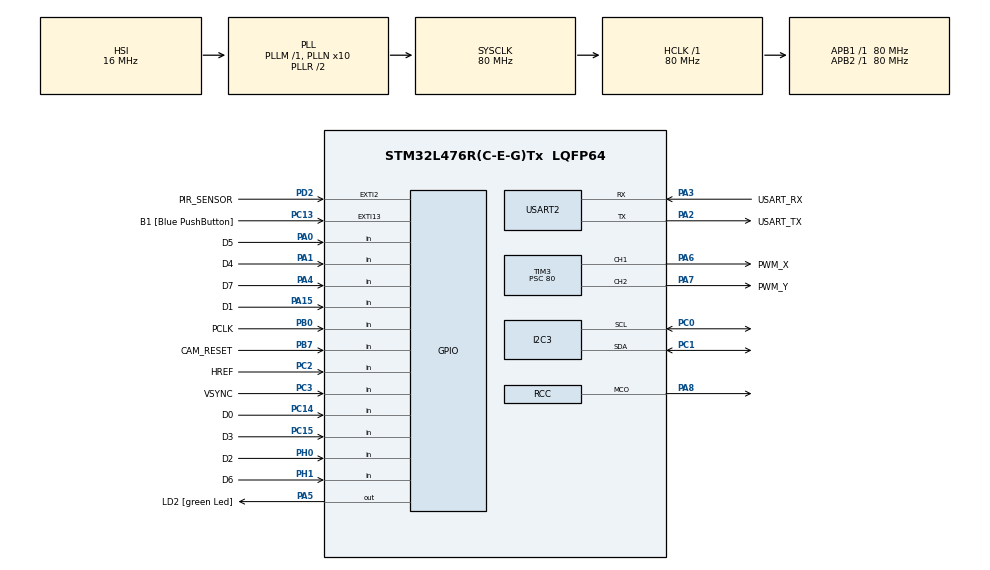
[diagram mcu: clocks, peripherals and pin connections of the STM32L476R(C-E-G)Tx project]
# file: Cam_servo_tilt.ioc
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FREERTOS.Queues01=QueueUART,64,uint8_t,NULL
FREERTOS.Tasks01=TUART,0,128,TaskUART,Default
FREERTOS.configMINIMAL_STACK_SIZE=64
Mcu.Family=STM32L4
Mcu.Name=STM32L476R(C-E-G)Tx
Mcu.Package=LQFP64
NVIC.EXTI2_IRQn=true\:5\:0\:false\:false\:true\:true
NVIC.PriorityGroup=NVIC_PRIORITYGROUP_4
NVIC.TIM1_UP_TIM16_IRQn=true\:0\:0\:false\:false\:true\:false
NVIC.TimeBase=TIM1_UP_TIM16_IRQn
NVIC.TimeBaseIP=TIM1
NVIC.USART2_IRQn=true\:5\:0\:false\:false\:true\:true
PA0.GPIO_Label=D5
PA0.Signal=GPIO_Input
PA1.GPIO_Label=D4
PA1.Signal=GPIO_Input
PA13.GPIO_Label=TMS
PA13.Signal=SYS_JTMS-SWDIO
PA14.GPIO_Label=TCK
PA14.Signal=SYS_JTCK-SWCLK
PA15.GPIO_Label=D1
PA15.Signal=GPIO_Input
PA2.GPIO_Label=USART_TX
PA2.GPIO_Mode=GPIO_MODE_AF_PP
PA2.GPIO_PuPd=GPIO_NOPULL
PA2.GPIO_Speed=GPIO_SPEED_FREQ_VERY_HIGH
PA2.Mode=Asynchronous
PA2.Signal=USART2_TX
PA3.GPIO_Label=USART_RX
PA3.GPIO_Mode=GPIO_MODE_AF_PP
PA3.GPIO_PuPd=GPIO_NOPULL
PA3.GPIO_Speed=GPIO_SPEED_FREQ_VERY_HIGH
PA3.Mode=Asynchronous
PA3.Signal=USART2_RX
PA4.GPIO_Label=D7
PA4.Signal=GPIO_Input
PA5.GPIO_Label=LD2 [green Led]
PA5.GPIO_ModeDefaultOutputPP=GPIO_MODE_OUTPUT_PP
PA5.GPIO_PuPd=GPIO_NOPULL
PA5.GPIO_Speed=GPIO_SPEED_FREQ_LOW
PA5.Signal=GPIO_Output
PA6.GPIO_Label=PWM_X
PA6.Signal=S_TIM3_CH1
PA7.GPIO_Label=PWM_Y
PA7.Signal=S_TIM3_CH2
PA8.Mode=Clock-out
PA8.Signal=RCC_MCO
PB0.GPIO_Label=PCLK
PB0.Signal=GPIO_Input
PB3.GPIO_Label=SWO
PB3.Signal=SYS_JTDO-SWO
PB7.GPIO_Label=CAM_RESET
PB7.GPIO_PuPd=GPIO_PULLUP
PB7.Signal=GPIO_Input
PC0.Mode=I2C
PC0.Signal=I2C3_SCL
PC1.Mode=I2C
PC1.Signal=I2C3_SDA
PC13.GPIO_Label=B1 [Blue PushButton]
PC13.GPIO_ModeDefaultEXTI=GPIO_MODE_EVT_RISING
PC13.GPIO_PuPd=GPIO_NOPULL
PC13.Signal=GPXTI13
PC14/OSC32_IN.GPIO_Label=D0
PC14/OSC32_IN.Signal=GPIO_Input
PC15/OSC32_OUT.GPIO_Label=D3
PC15/OSC32_OUT.Signal=GPIO_Input
PC2.GPIO_Label=HREF
PC2.Signal=GPIO_Input
PC3.GPIO_Label=VSYNC
PC3.Signal=GPIO_Input
PD2.GPIO_Label=PIR_SENSOR
PD2.GPIO_ModeDefaultEXTI=GPIO_MODE_IT_RISING_FALLING
PD2.Signal=GPXTI2
PH0/OSC_IN.GPIO_Label=D2
PH0/OSC_IN.Signal=GPIO_Input
PH1/OSC_OUT.GPIO_Label=D6
PH1/OSC_OUT.Signal=GPIO_Input
ProjectManager.HeapSize=0x200
ProjectManager.StackSize=0x400
ProjectManager.TargetToolchain=SW4STM32
RCC.ADCFreq_Value=64000000
RCC.AHBFreq_Value=80000000
RCC.APB1Freq_Value=80000000
RCC.APB1TimFreq_Value=80000000
RCC.APB2Freq_Value=80000000
RCC.APB2TimFreq_Value=80000000
RCC.CortexFreq_Value=80000000
RCC.HCLKFreq_Value=80000000
RCC.HSE_VALUE=8000000
RCC.HSI_VALUE=16000000
RCC.LSE_VALUE=32768
RCC.MSIClockRange=RCC_MSIRANGE_9
RCC.MSI_VALUE=24000000
RCC.PLLN=10
RCC.PLLSourceVirtual=RCC_PLLSOURCE_HSI
RCC.PREFETCH_ENABLE=1
RCC.RCC_MCO1Source=RCC_MCO1SOURCE_MSI
RCC.SYSCLKFreq_VALUE=80000000
RCC.SYSCLKSource=RCC_SYSCLKSOURCE_PLLCLK
RCC.USBFreq_Value=64000000
RCC.VCOOutputFreq_Value=160000000
SH.S_TIM3_CH1.0=TIM3_CH1,PWM Generation1 CH1
SH.S_TIM3_CH2.0=TIM3_CH2,PWM Generation2 CH2
TIM3.Channel-PWM\ Generation2\ CH2=TIM_CHANNEL_2
TIM3.Period=20000
TIM3.Prescaler=80
USART2.WordLength=UART_WORDLENGTH_8B
VP_FREERTOS_VS_ENABLE.Mode=Enabled
VP_SYS_VS_tim1.Mode=TIM1
board=NUCLEO-L476RG

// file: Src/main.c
/**
  ******************************************************************************
  * File Name          : main.c
  * Description        : Main program body
  ******************************************************************************
  *
  * Copyright (c) 2017 STMicroelectronics International N.V.
  * All rights reserved.
  *
  * Redistribution and use in source and binary forms, with or without
  * modification, are permitted, provided that the following conditions are met:
  *
  * 1. Redistribution of source code must retain the above copyright notice,
  *    this list of conditions and the following disclaimer.
  * 2. Redistributions in binary form must reproduce the above copyright notice,
  *    this list of conditions and the following disclaimer in the documentation
  *    and/or other materials provided with the distribution.
  * 3. Neither the name of STMicroelectronics nor the names of other
  *    contributors to this software may be used to endorse or promote products
  *    derived from this software without specific written permission.
  * 4. This software, including modifications and/or derivative works of this
  *    software, must execute solely and exclusively on microcontroller or
  *    microprocessor devices manufactured by or for STMicroelectronics.
  * 5. Redistribution and use of this software other than as permitted under
  *    this license is void and will automatically terminate your rights under
  *    this license.
  *
  * THIS SOFTWARE IS PROVIDED BY STMICROELECTRONICS AND CONTRIBUTORS "AS IS"
  * AND ANY EXPRESS, IMPLIED OR STATUTORY WARRANTIES, INCLUDING, BUT NOT
  * LIMITED TO, THE IMPLIED WARRANTIES OF MERCHANTABILITY, FITNESS FOR A
  * PARTICULAR PURPOSE AND NON-INFRINGEMENT OF THIRD PARTY INTELLECTUAL PROPERTY
  * RIGHTS ARE DISCLAIMED TO THE FULLEST EXTENT PERMITTED BY LAW. IN NO EVENT
  * SHALL STMICROELECTRONICS OR CONTRIBUTORS BE LIABLE FOR ANY DIRECT, INDIRECT,
  * INCIDENTAL, SPECIAL, EXEMPLARY, OR CONSEQUENTIAL DAMAGES (INCLUDING, BUT NOT
  * LIMITED TO, PROCUREMENT OF SUBSTITUTE GOODS OR SERVICES; LOSS OF USE, DATA,
  * OR PROFITS; OR BUSINESS INTERRUPTION) HOWEVER CAUSED AND ON ANY THEORY OF
  * LIABILITY, WHETHER IN CONTRACT, STRICT LIABILITY, OR TORT (INCLUDING
  * NEGLIGENCE OR OTHERWISE) ARISING IN ANY WAY OUT OF THE USE OF THIS SOFTWARE,
  * EVEN IF ADVISED OF THE POSSIBILITY OF SUCH DAMAGE.
  *
  ******************************************************************************
  */
#include "main.h"
#include "stm32l4xx_hal.h"
#include "cmsis_os.h"

I2C_HandleTypeDef hi2c3;

TIM_HandleTypeDef htim3;

UART_HandleTypeDef huart2;

osThreadId TUARTHandle;
osMessageQId QueueUARTHandle;

/* USER CODE BEGIN PV */
/* Private variables ---------------------------------------------------------*/

#define UART_RCV_NUM	1

#define SERVO_LEFT_POS		2640
#define SERVO_MIDDLE_POS	1630
#define SERVO_RIGHT_POS 	620

volatile uint8_t 	UART_Received;
volatile uint8_t	charToSend;

/* USER CODE END PV */

void SystemClock_Config(void);
void Error_Handler(void);
static void MX_GPIO_Init(void);
static void MX_I2C3_Init(void);
static void MX_USART2_UART_Init(void);
static void MX_TIM3_Init(void);
void TaskUART(void const * argument);

void HAL_TIM_MspPostInit(TIM_HandleTypeDef *htim);

/* USER CODE BEGIN PFP */
/* Private function prototypes -----------------------------------------------*/

/* USER CODE END PFP */

int main(void)
{

  /* MCU Configuration----------------------------------------------------------*/

  /* Reset of all peripherals, Initializes the Flash interface and the Systick. */
  HAL_Init();

  /* Configure the system clock */
  SystemClock_Config();

  /* Initialize all configured peripherals */
  MX_GPIO_Init();
  MX_I2C3_Init();
  MX_USART2_UART_Init();
  MX_TIM3_Init();

  /* Create the thread(s) */
  /* definition and creation of TUART */
  osThreadDef(TUART, TaskUART, osPriorityNormal, 0, 128);
  TUARTHandle = osThreadCreate(osThread(TUART), NULL);

  /* Create the queue(s) */
  /* definition and creation of QueueUART */
  osMessageQDef(QueueUART, 64, uint8_t);
  QueueUARTHandle = osMessageCreate(osMessageQ(QueueUART), NULL);

  /* Start scheduler */
  osKernelStart();

  /* We should never get here as control is now taken by the scheduler */

  /* Infinite loop */
  while (1)
  {

  }

}

/** System Clock Configuration
*/
void SystemClock_Config(void)
{

  RCC_OscInitTypeDef RCC_OscInitStruct;
  RCC_ClkInitTypeDef RCC_ClkInitStruct;
  RCC_PeriphCLKInitTypeDef PeriphClkInit;

    /**Initializes the CPU, AHB and APB busses clocks
    */
  RCC_OscInitStruct.OscillatorType = RCC_OSCILLATORTYPE_HSI|RCC_OSCILLATORTYPE_MSI;
  RCC_OscInitStruct.HSIState = RCC_HSI_ON;
  RCC_OscInitStruct.HSICalibrationValue = 16;
  RCC_OscInitStruct.MSIState = RCC_MSI_ON;
  RCC_OscInitStruct.MSICalibrationValue = 0;
  RCC_OscInitStruct.MSIClockRange = RCC_MSIRANGE_9;
  RCC_OscInitStruct.PLL.PLLState = RCC_PLL_ON;
  RCC_OscInitStruct.PLL.PLLSource = RCC_PLLSOURCE_HSI;
  RCC_OscInitStruct.PLL.PLLM = 1;
  RCC_OscInitStruct.PLL.PLLN = 10;
  RCC_OscInitStruct.PLL.PLLP = RCC_PLLP_DIV7;
  RCC_OscInitStruct.PLL.PLLQ = RCC_PLLQ_DIV2;
  RCC_OscInitStruct.PLL.PLLR = RCC_PLLR_DIV2;
  if (HAL_RCC_OscConfig(&RCC_OscInitStruct) != HAL_OK)
  {
    Error_Handler();
  }

    /**Initializes the CPU, AHB and APB busses clocks
    */
  RCC_ClkInitStruct.ClockType = RCC_CLOCKTYPE_HCLK|RCC_CLOCKTYPE_SYSCLK
                              |RCC_CLOCKTYPE_PCLK1|RCC_CLOCKTYPE_PCLK2;
  RCC_ClkInitStruct.SYSCLKSource = RCC_SYSCLKSOURCE_PLLCLK;
  RCC_ClkInitStruct.AHBCLKDivider = RCC_SYSCLK_DIV1;
  RCC_ClkInitStruct.APB1CLKDivider = RCC_HCLK_DIV1;
  RCC_ClkInitStruct.APB2CLKDivider = RCC_HCLK_DIV1;

  if (HAL_RCC_ClockConfig(&RCC_ClkInitStruct, FLASH_LATENCY_4) != HAL_OK)
  {
    Error_Handler();
  }

  PeriphClkInit.PeriphClockSelection = RCC_PERIPHCLK_USART2|RCC_PERIPHCLK_I2C3;
  PeriphClkInit.Usart2ClockSelection = RCC_USART2CLKSOURCE_PCLK1;
  PeriphClkInit.I2c3ClockSelection = RCC_I2C3CLKSOURCE_PCLK1;
  if (HAL_RCCEx_PeriphCLKConfig(&PeriphClkInit) != HAL_OK)
  {
    Error_Handler();
  }

  HAL_RCC_MCOConfig(RCC_MCO1, RCC_MCO1SOURCE_MSI, RCC_MCODIV_1);

    /**Configure the main internal regulator output voltage
    */
  if (HAL_PWREx_ControlVoltageScaling(PWR_REGULATOR_VOLTAGE_SCALE1) != HAL_OK)
  {
    Error_Handler();
  }

    /**Configure the Systick interrupt time
    */
  HAL_SYSTICK_Config(HAL_RCC_GetHCLKFreq()/1000);

    /**Configure the Systick
    */
  HAL_SYSTICK_CLKSourceConfig(SYSTICK_CLKSOURCE_HCLK);

  /* SysTick_IRQn interrupt configuration */
  HAL_NVIC_SetPriority(SysTick_IRQn, 15, 0);
}

/* I2C3 init function */
static void MX_I2C3_Init(void)
{

  hi2c3.Instance = I2C3;
  hi2c3.Init.Timing = 0x10909CEC;
  hi2c3.Init.OwnAddress1 = 0;
  hi2c3.Init.AddressingMode = I2C_ADDRESSINGMODE_7BIT;
  hi2c3.Init.DualAddressMode = I2C_DUALADDRESS_DISABLE;
  hi2c3.Init.OwnAddress2 = 0;
  hi2c3.Init.OwnAddress2Masks = I2C_OA2_NOMASK;
  hi2c3.Init.GeneralCallMode = I2C_GENERALCALL_DISABLE;
  hi2c3.Init.NoStretchMode = I2C_NOSTRETCH_DISABLE;
  if (HAL_I2C_Init(&hi2c3) != HAL_OK)
  {
    Error_Handler();
  }

    /**Configure Analogue filter
    */
  if (HAL_I2CEx_ConfigAnalogFilter(&hi2c3, I2C_ANALOGFILTER_ENABLE) != HAL_OK)
  {
    Error_Handler();
  }

}

/* TIM3 init function */
static void MX_TIM3_Init(void)
{

  TIM_MasterConfigTypeDef sMasterConfig;
  TIM_OC_InitTypeDef sConfigOC;

  htim3.Instance = TIM3;
  htim3.Init.Prescaler = 80;
  htim3.Init.CounterMode = TIM_COUNTERMODE_UP;
  htim3.Init.Period = 20000;
  htim3.Init.ClockDivision = TIM_CLOCKDIVISION_DIV1;
  if (HAL_TIM_PWM_Init(&htim3) != HAL_OK)
  {
    Error_Handler();
  }

  sMasterConfig.MasterOutputTrigger = TIM_TRGO_RESET;
  sMasterConfig.MasterSlaveMode = TIM_MASTERSLAVEMODE_DISABLE;
  if (HAL_TIMEx_MasterConfigSynchronization(&htim3, &sMasterConfig) != HAL_OK)
  {
    Error_Handler();
  }

  sConfigOC.OCMode = TIM_OCMODE_PWM1;
  sConfigOC.Pulse = 0;
  sConfigOC.OCPolarity = TIM_OCPOLARITY_HIGH;
  sConfigOC.OCFastMode = TIM_OCFAST_DISABLE;
  if (HAL_TIM_PWM_ConfigChannel(&htim3, &sConfigOC, TIM_CHANNEL_1) != HAL_OK)
  {
    Error_Handler();
  }

  if (HAL_TIM_PWM_ConfigChannel(&htim3, &sConfigOC, TIM_CHANNEL_2) != HAL_OK)
  {
    Error_Handler();
  }

  HAL_TIM_MspPostInit(&htim3);

}

/* USART2 init function */
static void MX_USART2_UART_Init(void)
{

  huart2.Instance = USART2;
  huart2.Init.BaudRate = 115200;
  huart2.Init.WordLength = UART_WORDLENGTH_8B;
  huart2.Init.StopBits = UART_STOPBITS_1;
  huart2.Init.Parity = UART_PARITY_NONE;
  huart2.Init.Mode = UART_MODE_TX_RX;
  huart2.Init.HwFlowCtl = UART_HWCONTROL_NONE;
  huart2.Init.OverSampling = UART_OVERSAMPLING_16;
  huart2.Init.OneBitSampling = UART_ONE_BIT_SAMPLE_DISABLE;
  huart2.AdvancedInit.AdvFeatureInit = UART_ADVFEATURE_NO_INIT;
  if (HAL_UART_Init(&huart2) != HAL_OK)
  {
    Error_Handler();
  }

}

/** Configure pins as
        * Analog
        * Input
        * Output
        * EVENT_OUT
        * EXTI
     PA8   ------> RCC_MCO
*/
static void MX_GPIO_Init(void)
{

  GPIO_InitTypeDef GPIO_InitStruct;

  /* GPIO Ports Clock Enable */
  __HAL_RCC_GPIOC_CLK_ENABLE();
  __HAL_RCC_GPIOH_CLK_ENABLE();
  __HAL_RCC_GPIOA_CLK_ENABLE();
  __HAL_RCC_GPIOB_CLK_ENABLE();
  __HAL_RCC_GPIOD_CLK_ENABLE();

  /*Configure GPIO pin : B1_Pin */
  GPIO_InitStruct.Pin = B1_Pin;
  GPIO_InitStruct.Mode = GPIO_MODE_EVT_RISING;
  GPIO_InitStruct.Pull = GPIO_NOPULL;
  HAL_GPIO_Init(B1_GPIO_Port, &GPIO_InitStruct);

  /*Configure GPIO pins : D0_Pin D3_Pin HREF_Pin VSYNC_Pin */
  GPIO_InitStruct.Pin = D0_Pin|D3_Pin|HREF_Pin|VSYNC_Pin;
  GPIO_InitStruct.Mode = GPIO_MODE_INPUT;
  GPIO_InitStruct.Pull = GPIO_NOPULL;
  HAL_GPIO_Init(GPIOC, &GPIO_InitStruct);

  /*Configure GPIO pins : D2_Pin D6_Pin */
  GPIO_InitStruct.Pin = D2_Pin|D6_Pin;
  GPIO_InitStruct.Mode = GPIO_MODE_INPUT;
  GPIO_InitStruct.Pull = GPIO_NOPULL;
  HAL_GPIO_Init(GPIOH, &GPIO_InitStruct);

  /*Configure GPIO pins : D5_Pin D4_Pin D7_Pin D1_Pin */
  GPIO_InitStruct.Pin = D5_Pin|D4_Pin|D7_Pin|D1_Pin;
  GPIO_InitStruct.Mode = GPIO_MODE_INPUT;
  GPIO_InitStruct.Pull = GPIO_NOPULL;
  HAL_GPIO_Init(GPIOA, &GPIO_InitStruct);

  /*Configure GPIO pin : LD2_Pin */
  GPIO_InitStruct.Pin = LD2_Pin;
  GPIO_InitStruct.Mode = GPIO_MODE_OUTPUT_PP;
  GPIO_InitStruct.Pull = GPIO_NOPULL;
  GPIO_InitStruct.Speed = GPIO_SPEED_FREQ_LOW;
  HAL_GPIO_Init(LD2_GPIO_Port, &GPIO_InitStruct);

  /*Configure GPIO pin : PCLK_Pin */
  GPIO_InitStruct.Pin = PCLK_Pin;
  GPIO_InitStruct.Mode = GPIO_MODE_INPUT;
  GPIO_InitStruct.Pull = GPIO_NOPULL;
  HAL_GPIO_Init(PCLK_GPIO_Port, &GPIO_InitStruct);

  /*Configure GPIO pin : PA8 */
  GPIO_InitStruct.Pin = GPIO_PIN_8;
  GPIO_InitStruct.Mode = GPIO_MODE_AF_PP;
  GPIO_InitStruct.Pull = GPIO_NOPULL;
  GPIO_InitStruct.Speed = GPIO_SPEED_FREQ_LOW;
  GPIO_InitStruct.Alternate = GPIO_AF0_MCO;
  HAL_GPIO_Init(GPIOA, &GPIO_InitStruct);

  /*Configure GPIO pin : PIR_SENSOR_Pin */
  GPIO_InitStruct.Pin = PIR_SENSOR_Pin;
  GPIO_InitStruct.Mode = GPIO_MODE_IT_RISING_FALLING;
  GPIO_InitStruct.Pull = GPIO_NOPULL;
  HAL_GPIO_Init(PIR_SENSOR_GPIO_Port, &GPIO_InitStruct);

  /*Configure GPIO pin : CAM_RESET_Pin */
  GPIO_InitStruct.Pin = CAM_RESET_Pin;
  GPIO_InitStruct.Mode = GPIO_MODE_INPUT;
  GPIO_InitStruct.Pull = GPIO_PULLUP;
  HAL_GPIO_Init(CAM_RESET_GPIO_Port, &GPIO_InitStruct);

  /*Configure GPIO pin Output Level */
  HAL_GPIO_WritePin(LD2_GPIO_Port, LD2_Pin, GPIO_PIN_RESET);

  /* EXTI interrupt init*/
  HAL_NVIC_SetPriority(EXTI2_IRQn, 5, 0);
  HAL_NVIC_EnableIRQ(EXTI2_IRQn);

}

/* USER CODE BEGIN 4 */

//! Callbacki przerwañ:

void HAL_UART_RxCpltCallback(UART_HandleTypeDef *huart)
{
	BaseType_t xHigherPriorityTaskWoken;

	// Wys³anie wiadomoœci do Tasku UARTA z przerwania (bezpieczna funkcja)
	xQueueSendFromISR(QueueUARTHandle, (void*)&UART_Received, &xHigherPriorityTaskWoken);
	// Ponowne w³¹czenie nas³uchiwania
	HAL_UART_Receive_IT(&huart2, (uint8_t*)&UART_Received, UART_RCV_NUM);

	/* Now the buffer is empty we can switch context if necessary. */
	if( xHigherPriorityTaskWoken )
		/* Actual macro used here is port specific. */
		portEND_SWITCHING_ISR( xHigherPriorityTaskWoken );
}

void HAL_GPIO_EXTI_Callback(uint16_t GPIO_Pin)
{
	BaseType_t xHigherPriorityTaskWoken;

	//! Przerwanie na czujniku ruchu
	if ( GPIO_Pin == PIR_SENSOR_Pin )
	{
		if (HAL_GPIO_ReadPin(PIR_SENSOR_GPIO_Port, PIR_SENSOR_Pin) == 1)
			charToSend = 'M';
		else
			charToSend = 'N';

		//HAL_GPIO_WritePin(LD2_GPIO_Port, LD2_Pin, HAL_GPIO_ReadPin(PIR_SENSOR_GPIO_Port, PIR_SENSOR_Pin));

		// Wys³anie wiadomoœci do Tasku UARTA z przerwania (bezpieczna funkcja)
		xQueueSendFromISR(QueueUARTHandle, (uint8_t*)&charToSend, &xHigherPriorityTaskWoken);

		/* Now the buffer is empty we can switch context if necessary. */
		if( xHigherPriorityTaskWoken )
			/* Actual macro used here is port specific. */
			portEND_SWITCHING_ISR( xHigherPriorityTaskWoken );
	}
}

/* USER CODE END 4 */

/* TaskUART function */
void TaskUART(void const * argument)
{

  /* USER CODE BEGIN 5 */

	//! Zmienne lokalne:
	char data[50]; // Tablica przechowujaca wysylana wiadomosc.
	uint16_t size = 0; // Rozmiar wysylanej wiadomosci

	char rcvChar = '0';	// odebrany z kolejki znak

	uint16_t dutyCycle;

	uint8_t i = 0;		// iterator pêtli

	uint8_t flag = 0;

	HAL_TIM_PWM_Start(&htim3, TIM_CHANNEL_1);
	HAL_TIM_PWM_Start(&htim3, TIM_CHANNEL_2);

	//! Inicjalizacje:
	//Wyslanie powitalnej wiadomosci:
	//size = sprintf(data, "Set PWM duty cycle in us (0 - 20 000).\n\r");
	//HAL_UART_Transmit_IT(&huart2, data, size); // Rozpoczecie nadawania danych z wykorzystaniem przerwan

	// uruchomienie UART w trybie nas³uchiwania na przerwaniach
	HAL_UART_Receive_IT(&huart2, (uint8_t*)&UART_Received, UART_RCV_NUM);

  /* Infinite loop */
  for(;;)
  {
	  // Odebranie znaku z nieskonczonym oczekiwaniem z przerwan UART:
	  xQueueReceive(QueueUARTHandle, (void*)&rcvChar, portMAX_DELAY);

	  if ( rcvChar == 'M' || rcvChar == 'N' )
	  {
		  //HAL_UART_Transmit_IT(&huart2, (uint8_t*)&rcvChar, 1);	// odeslanie znaku
		  size = sprintf(data, "%c", rcvChar);
		  HAL_UART_Transmit_IT(&huart2, (uint8_t*)data, size);	// odeslanie znaku
	  }

	  if ( rcvChar == 'F' ) // strza³
		  HAL_GPIO_WritePin(LD2_GPIO_Port, LD2_Pin, 1);

	  if ( rcvChar == 'S' ) // zwolnienie strza³u
		  HAL_GPIO_WritePin(LD2_GPIO_Port, LD2_Pin, 0);

	  if ( rcvChar == 'P' ) // ustalenie pozycji
		  flag = 1;
	  if ( rcvChar >= '0' && rcvChar <= '9' )
		  data[i++] = rcvChar;	// zapisuje cyfry dopoki nie napotka znaku konca linii
	  else if ( (rcvChar == ' ' || rcvChar == '\r') )
	  {
		  i = 0;	// zeruje licznik znakow
		  dutyCycle = (uint16_t)atoi(data) - 1000;	// konwersja pozwalajaca odczytanie liczby 16-bitowej
		  if (flag == 1)
		  {
			  dutyCycle = SERVO_RIGHT_POS + 1010 + (int16_t)((1010 - (int16_t)dutyCycle + SERVO_RIGHT_POS));
			  __HAL_TIM_SET_COMPARE(&htim3, TIM_CHANNEL_1, dutyCycle);
			  flag = 2;
		  }
		  else if (flag == 2)
		  {
			  __HAL_TIM_SET_COMPARE(&htim3, TIM_CHANNEL_2, dutyCycle);
			  flag = 0;
		  }
	  }
  }
  /* USER CODE END 5 */
}

void HAL_TIM_PeriodElapsedCallback(TIM_HandleTypeDef *htim)
{
  if (htim->Instance == TIM1) {
    HAL_IncTick();
  }
}

void Error_Handler(void)
{
  while(1)
  {
  }
}

/************************ (C) COPYRIGHT STMicroelectronics *****END OF FILE****/
